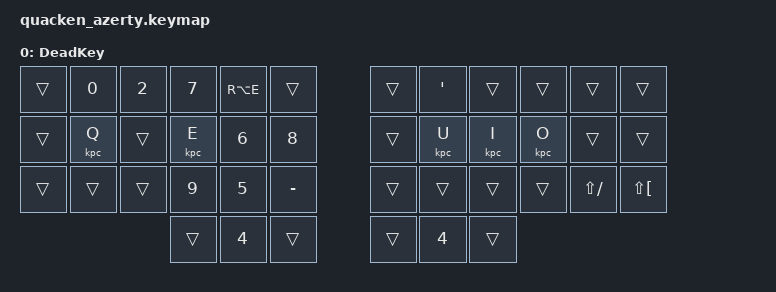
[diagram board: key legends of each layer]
#ifndef KB_LAYOUT_AZERTY
#define KB_LAYOUT_AZERTY
#endif

#include "quacken.keymap"

#define DK_LAYER EXTRA_LAYERS_START_INDEX

&base_layer {
  display-name = "Base";
  bindings = <
    &kp TAB    &kp Q  &kp W  &kp E  &kp R  &kp T        &kp Y  &kp U  &kp I     &kp O   &kp P      &kp BACKSPACE
    &kp ESCAPE HRM_A  HRM_S  HRM_D  HRM_F  &kp G        &kp H  HRM_J  HRM_K     HRM_L   HRM_SEMI   &EZ_SL(DK_LAYER)
    &kp LSHIFT &kp Z  &kp X  &kp C  &kp V  &kp B        &kp N  &kp M  &kp COMMA &kp DOT &kp FSLH   &kp RSHIFT
    LEFT_THUMB_TUCK  LEFT_THUMB_HOME  LEFT_THUMB_REACH    RIGHT_THUMB_REACH  RIGHT_THUMB_HOME  RIGHT_THUMB_TUCK
  >;
};

/ {
  // Extra layers defined specifically for this keymap, appended to the base keymap.
  keymap {
    compatible = "zmk,keymap";

    dead_key_layer {
      display-name = "DeadKey";
      bindings = <
        &trans    &kp N0  &kp N2  &kp N7  &kp RA(E) &trans     &trans  &kp SQT &trans  &trans  &trans       &trans
        &trans    &kpc Q  &trans  &kpc E  &kp N6  &kp N8       &trans  &kpc U  &kpc I  &kpc O  &trans       &trans
        &trans    &trans  &trans  &kp N9  &kp N5  &kp MINUS    &trans  &trans  &trans  &trans  &kp LS(FSLH) &kp LS(LBKT)
                                  &trans  &kp N4  &trans       &trans  &kp N4  &trans
      >;
    };
  };
};
